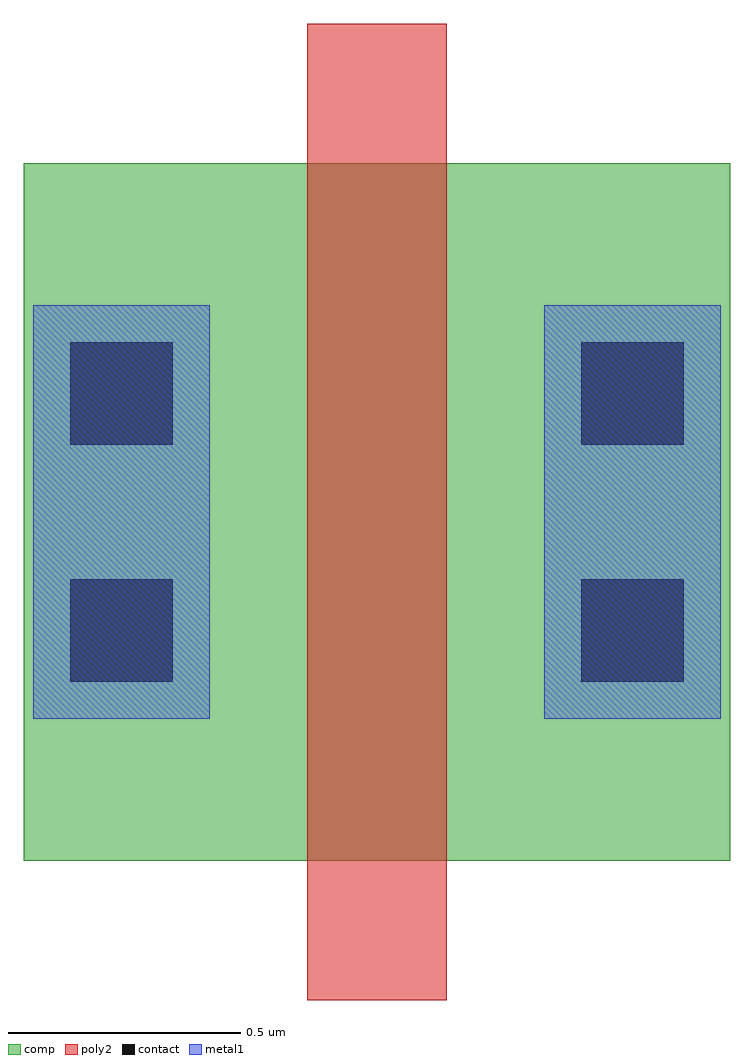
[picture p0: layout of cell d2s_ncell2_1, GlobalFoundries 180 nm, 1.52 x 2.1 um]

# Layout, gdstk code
import gdstk
lib = gdstk.Library(unit=1e-6, precision=5e-09)
def R(c, l, rs):  # rectangles x0, y0, x1, y1
    for r in rs: c.add(gdstk.rectangle(r[:2], r[2:], *l))
comp = (22, 0)
poly2 = (30, 0)
contact = (33, 0)
metal1 = (34, 0)

d2s_ncell2_1 = lib.new_cell('d2s_ncell2_1')
R(d2s_ncell2_1, comp, [(0,0.3,0.42,1.8), (0.42,0.3,1.1,1.8), (1.1,0.3,1.52,1.8)])
R(d2s_ncell2_1, poly2, [(0.61,0,0.91,2.1)])
R(d2s_ncell2_1, contact, [(0.1,0.685,0.32,0.905), (1.2,0.685,1.42,0.905), (0.1,1.195,0.32,1.415), (1.2,1.195,1.42,1.415)])
R(d2s_ncell2_1, metal1, [(0.02,0.605,0.4,1.495), (1.12,0.605,1.5,1.495)])

lib.write_gds('d2s_ncell2_1.gds')
